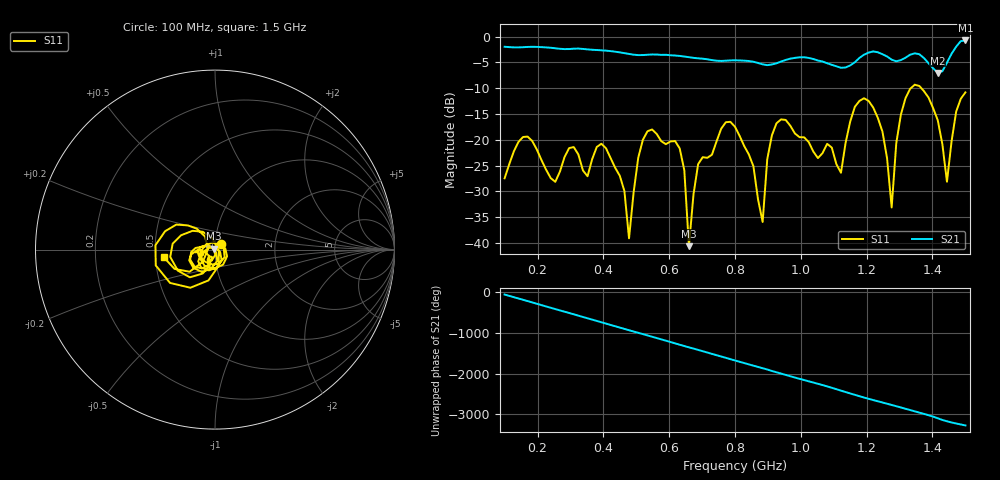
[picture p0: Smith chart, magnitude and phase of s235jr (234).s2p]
! NanoVNA-App
! Date: 2025-09-25 15:05:59
! Start: 100MHz Stop: 1,5GHz Points: 101
! S-Parameter data: F S11 S21 S12 S22
# Hz S RI R 50
!  Frequency  S11_Real  S11_Imag  S21_Real  S21_Imag  S12_Real  S12_Imag  S22_Real  S22_Imag
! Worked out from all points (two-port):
!   101 points, 100 MHz to 1.5 GHz, reference 50 ohm
!   highest |S21| = -0.74 dB at 1.5 GHz (marker M1); lowest = -7.0 dB at 1.416 GHz (marker M2)
!   |S21| within 3 dB of the highest: start of sweep to 632.4 MHz; 1.187 GHz to 1.259 GHz (72.03 MHz wide, 5.89 % of centre) (the widest 2 of 4)
!   lowest |S11| = -40.6 dB at 660 MHz (marker M3), VSWR 1.02, Z = 49.3 + j0.561 ohm
!   |S11| at or under -10 dB: start of sweep to 1.334 GHz; 1.366 GHz to end of sweep
!   S12 and S22 are empty: the file has one direction only
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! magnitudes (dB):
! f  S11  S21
! 100 MHz  -27.5  -2.0
! 156 MHz  -19.5  -2.1
! 338 MHz  -25.9  -2.4
! 408 MHz  -21.6  -2.7
! 478 MHz  -39.1  -3.4
! 520 MHz  -20.0  -3.6
! 576 MHz  -20.3  -3.5
! 632 MHz  -21.7  -3.7
! 660 MHz  -40.6  -4.0
! 688 MHz  -24.7  -4.2
! 800 MHz  -17.5  -4.6
! 884 MHz  -35.9  -5.4
! 926 MHz  -16.8  -5.2
! 1.038 GHz  -22.3  -4.3
! 1.122 GHz  -26.4  -6.0
! 1.206 GHz  -12.5  -3.1
! 1.276 GHz  -33.1  -4.5
! 1.29 GHz  -20.7  -4.8
! 1.332 GHz  -10.1  -3.5
! 1.416 GHz  -16.2  -7.0
! 1.444 GHz  -28.1  -5.0
! 1.5 GHz  -10.8  -0.7
